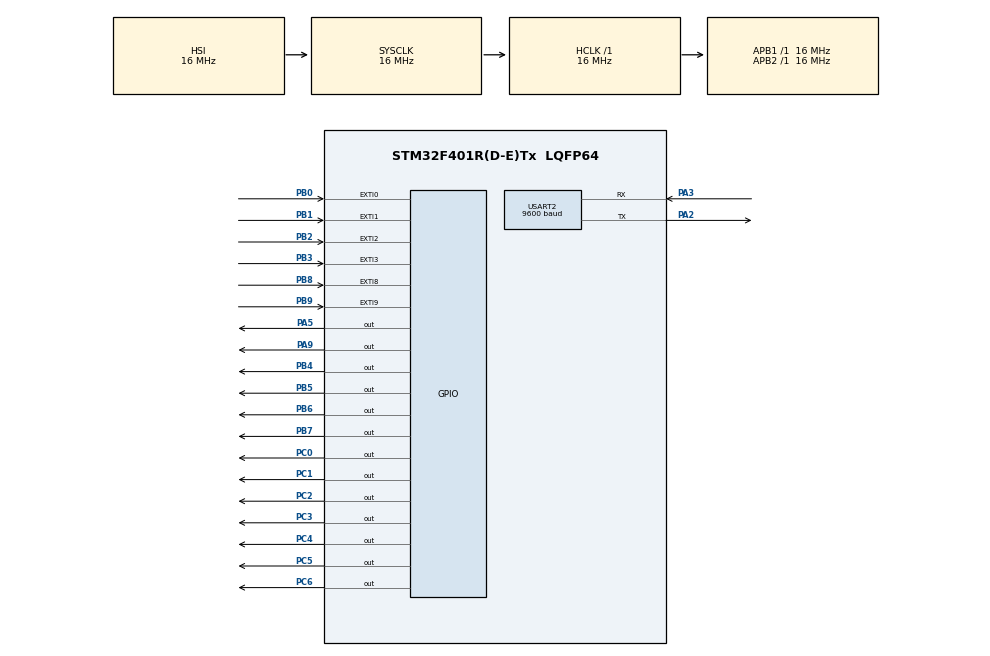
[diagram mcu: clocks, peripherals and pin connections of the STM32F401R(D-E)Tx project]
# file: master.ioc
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Mcu.Family=STM32F4
Mcu.Name=STM32F401R(D-E)Tx
Mcu.Package=LQFP64
NVIC.EXTI0_IRQn=true\:0\:0\:false\:false\:true\:true\:true
NVIC.EXTI1_IRQn=true\:0\:0\:false\:false\:true\:true\:true
NVIC.EXTI2_IRQn=true\:0\:0\:false\:false\:true\:true\:true
NVIC.EXTI3_IRQn=true\:0\:0\:false\:false\:true\:true\:true
NVIC.EXTI9_5_IRQn=true\:0\:0\:false\:false\:true\:true\:true
NVIC.PriorityGroup=NVIC_PRIORITYGROUP_4
NVIC.USART2_IRQn=true\:0\:0\:false\:false\:true\:true\:true
PA2.Mode=Asynchronous
PA2.Signal=USART2_TX
PA3.Mode=Asynchronous
PA3.Signal=USART2_RX
PA5.Signal=GPIO_Output
PA9.Signal=GPIO_Output
PB0.Signal=GPXTI0
PB1.Signal=GPXTI1
PB2.Signal=GPXTI2
PB3.Signal=GPXTI3
PB4.Signal=GPIO_Output
PB5.Signal=GPIO_Output
PB6.Signal=GPIO_Output
PB7.Signal=GPIO_Output
PB8.Signal=GPXTI8
PB9.Signal=GPXTI9
PC0.Signal=GPIO_Output
PC1.Signal=GPIO_Output
PC2.Signal=GPIO_Output
PC3.Signal=GPIO_Output
PC4.Signal=GPIO_Output
PC5.Signal=GPIO_Output
PC6.Signal=GPIO_Output
ProjectManager.HeapSize=0x200
ProjectManager.StackSize=0x400
ProjectManager.TargetToolchain=MDK-ARM V5.32
RCC.AHBFreq_Value=16000000
RCC.APB1Freq_Value=16000000
RCC.APB2Freq_Value=16000000
RCC.CortexFreq_Value=16000000
RCC.HSE_VALUE=25000000
RCC.HSI_VALUE=16000000
RCC.LSE_VALUE=32768
RCC.SYSCLKFreq_VALUE=16000000
RCC.VCOOutputFreq_Value=192000000
USART2.BaudRate=9600
USART2.VirtualMode=VM_ASYNC
board=custom

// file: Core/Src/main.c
/* USER CODE BEGIN Header */
/**
  ******************************************************************************
  * @file           : main.c
  * @brief          : Main program body
  ******************************************************************************
  * @attention
  *
  * <h2><center>&copy; Copyright (c) 2022 STMicroelectronics.
  * All rights reserved.</center></h2>
  *
  * This software component is licensed by ST under BSD 3-Clause license,
  * the "License"; You may not use this file except in compliance with the
  * License. You may obtain a copy of the License at:
  *                        opensource.org/licenses/BSD-3-Clause
  *
  ******************************************************************************
  */
/* USER CODE END Header */
#include "main.h"

/* USER CODE BEGIN PD */
#define mask(x) (1U << x)
#define no_select 10
/* USER CODE END PD */

UART_HandleTypeDef huart2;

/* USER CODE BEGIN PV */
// read buffer for uart
volatile char readBuffer[3];
//write buffer for uart
uint8_t writeBuffer[3];
// switch state
int switch_select_1 = 0 ;
int switch_select_2 = 0 ;
// synchronization bytes
uint8_t synchronizer[3] = {0xFC, 0xFC, 0xFC} ;
// currently selected device
unsigned volatile int selected_device = no_select ;
// seven segment map
unsigned int segment_map[11] = {0x3F, 0x06,0x5B,0x4F,0x66,0x6D,0x7D,0x07,0x7F,0x6F,0x54}; //catod based seven segment decoder mapping
/* USER CODE END PV */

void SystemClock_Config(void);
static void MX_GPIO_Init(void);
static void MX_USART2_UART_Init(void);
/* USER CODE BEGIN PFP */
void write_string(char* str);
void read_bytes(void);
void handle_key_pressed(void);
void write_seven_segment(int device_select); // write to seven segment
void write_bytes(); // write bytes on uart
void make_frames(int read_write, uint8_t data); // create data frames to be sent
/* USER CODE END PFP */

/* USER CODE BEGIN 0 */
void make_frames(int read_write , uint8_t data){
	writeBuffer[0] = selected_device ;
	writeBuffer[1] = read_write ? 0x80 : 0x0;  //for read msb is 1
	writeBuffer[2] = data ;
}

void write_string(char* str){
	HAL_GPIO_WritePin(GPIOA,GPIO_PIN_9,GPIO_PIN_SET);
	while(*str){
		HAL_UART_Transmit(&huart2,(uint8_t*)str,1,HAL_MAX_DELAY);
		str++ ;
	}
}
// write synchronization and buffer bytes
void write_bytes(){
	HAL_GPIO_WritePin(GPIOA,GPIO_PIN_9,GPIO_PIN_SET);
	HAL_UART_Transmit(&huart2,synchronizer,3,HAL_MAX_DELAY);
	HAL_UART_Transmit(&huart2,writeBuffer,3,HAL_MAX_DELAY);
}
// start reading until synch bytes arrive then read 3 bytes of data
void read_bytes(){
	uint8_t synch[1] = {0};
	int sync_count = 3 ;
	HAL_GPIO_WritePin(GPIOA,GPIO_PIN_9,GPIO_PIN_RESET);
	HAL_UART_Receive(&huart2,(uint8_t*)synch,1,HAL_MAX_DELAY);
	while(sync_count>0){
		if(synch[0]==synchronizer[0]){
			sync_count--;
		}
		if(sync_count == 0 ){
			break ;
		}
		HAL_UART_Receive(&huart2,(uint8_t*)synch,1,HAL_MAX_DELAY);
	}
	HAL_UART_Receive(&huart2,(uint8_t*)readBuffer,3,HAL_MAX_DELAY);
}

// write device to seven segment
void write_seven_segment(int device_select){
	for(int i = 0 ; i < 7 ; i++){
		HAL_GPIO_WritePin(GPIOC,mask(i),GPIO_PIN_SET & 0x1 & (segment_map[device_select] >> i));
	}
}

// display value on led
void display_led(uint8_t value){
	for(int i = 0 ; i < 4 ; i++){
		HAL_GPIO_WritePin(GPIOB,mask((i+4)),GPIO_PIN_SET & 0x1 & ( value >> i));
	}
}

// read value from led
uint8_t get_led_value(){
	uint8_t value = 0 ;
	for(int i = 0 ; i < 4 ; i++){
		value |= HAL_GPIO_ReadPin(GPIOB,mask((i+4))) << i ;
	}
	return value;
}

// call back function for key press
void HAL_GPIO_EXTI_Callback(uint16_t GPIO_PIN){
	//return ;
	switch(GPIO_PIN){
		case GPIO_PIN_0 :
			HAL_GPIO_TogglePin(GPIOB,mask(4));
			make_frames(0,get_led_value());
			write_bytes();
			break;
		case GPIO_PIN_1 :
			HAL_GPIO_TogglePin(GPIOB,mask(5));
			make_frames(0,get_led_value());
			write_bytes();
			break;
		case GPIO_PIN_2 :
			HAL_GPIO_TogglePin(GPIOB,mask(6));
			make_frames(0,get_led_value());
			write_bytes();
			break;
		case GPIO_PIN_3 :
			HAL_GPIO_TogglePin(GPIOB,mask(7));
			make_frames(0,get_led_value());
			write_bytes();
			break;
		case GPIO_PIN_8 :
			if (switch_select_2)
					return ;
			if(switch_select_1!=1){
				selected_device = 1 ;
				switch_select_1 = 1 ;
				make_frames(1,get_led_value());
				write_bytes();
				read_bytes();
				display_led(readBuffer[2]);
			}
			else{
				switch_select_1 = 0 ;
				make_frames(0,0xFF);
				write_bytes();
				selected_device = no_select ;
			}
			break ;
		case GPIO_PIN_9 :
			if (switch_select_1)
					return ;
			if(switch_select_2!=1){
				selected_device = 2 ;
				switch_select_2 = 1 ;
				make_frames(1,get_led_value());
				write_bytes();
				read_bytes();
				display_led(readBuffer[2]);
			}
			else{
				switch_select_2 = 0 ;
				selected_device = no_select ;
			}
			break ;
	}
}

/* USER CODE END 0 */

int main(void)
{

  /* MCU Configuration--------------------------------------------------------*/

  /* Reset of all peripherals, Initializes the Flash interface and the Systick. */
  HAL_Init();

  /* Configure the system clock */
  SystemClock_Config();

  /* Initialize all configured peripherals */
  MX_GPIO_Init();
  MX_USART2_UART_Init();
  /* Infinite loop */
  while (1)
  {
		write_seven_segment(selected_device);
  }
}

void SystemClock_Config(void)
{
  RCC_OscInitTypeDef RCC_OscInitStruct = {0};
  RCC_ClkInitTypeDef RCC_ClkInitStruct = {0};

  /** Configure the main internal regulator output voltage
  */
  __HAL_RCC_PWR_CLK_ENABLE();
  __HAL_PWR_VOLTAGESCALING_CONFIG(PWR_REGULATOR_VOLTAGE_SCALE2);
  /** Initializes the RCC Oscillators according to the specified parameters
  * in the RCC_OscInitTypeDef structure.
  */
  RCC_OscInitStruct.OscillatorType = RCC_OSCILLATORTYPE_HSI;
  RCC_OscInitStruct.HSIState = RCC_HSI_ON;
  RCC_OscInitStruct.HSICalibrationValue = RCC_HSICALIBRATION_DEFAULT;
  RCC_OscInitStruct.PLL.PLLState = RCC_PLL_NONE;
  if (HAL_RCC_OscConfig(&RCC_OscInitStruct) != HAL_OK)
  {
    Error_Handler();
  }
  /** Initializes the CPU, AHB and APB buses clocks
  */
  RCC_ClkInitStruct.ClockType = RCC_CLOCKTYPE_HCLK|RCC_CLOCKTYPE_SYSCLK
                              |RCC_CLOCKTYPE_PCLK1|RCC_CLOCKTYPE_PCLK2;
  RCC_ClkInitStruct.SYSCLKSource = RCC_SYSCLKSOURCE_HSI;
  RCC_ClkInitStruct.AHBCLKDivider = RCC_SYSCLK_DIV1;
  RCC_ClkInitStruct.APB1CLKDivider = RCC_HCLK_DIV1;
  RCC_ClkInitStruct.APB2CLKDivider = RCC_HCLK_DIV1;

  if (HAL_RCC_ClockConfig(&RCC_ClkInitStruct, FLASH_LATENCY_0) != HAL_OK)
  {
    Error_Handler();
  }
}

static void MX_USART2_UART_Init(void)
{

  huart2.Instance = USART2;
  huart2.Init.BaudRate = 9600;
  huart2.Init.WordLength = UART_WORDLENGTH_8B;
  huart2.Init.StopBits = UART_STOPBITS_1;
  huart2.Init.Parity = UART_PARITY_NONE;
  huart2.Init.Mode = UART_MODE_TX_RX;
  huart2.Init.HwFlowCtl = UART_HWCONTROL_NONE;
  huart2.Init.OverSampling = UART_OVERSAMPLING_16;
  if (HAL_UART_Init(&huart2) != HAL_OK)
  {
    Error_Handler();
  }

}

static void MX_GPIO_Init(void)
{
  GPIO_InitTypeDef GPIO_InitStruct = {0};

  /* GPIO Ports Clock Enable */
  __HAL_RCC_GPIOC_CLK_ENABLE();
  __HAL_RCC_GPIOA_CLK_ENABLE();
  __HAL_RCC_GPIOB_CLK_ENABLE();

  /*Configure GPIO pin Output Level */
  HAL_GPIO_WritePin(GPIOC, GPIO_PIN_0|GPIO_PIN_1|GPIO_PIN_2|GPIO_PIN_3
                          |GPIO_PIN_4|GPIO_PIN_5|GPIO_PIN_6, GPIO_PIN_RESET);

  /*Configure GPIO pin Output Level */
  HAL_GPIO_WritePin(GPIOA, GPIO_PIN_5|GPIO_PIN_9, GPIO_PIN_RESET);

  /*Configure GPIO pin Output Level */
  HAL_GPIO_WritePin(GPIOB, GPIO_PIN_4|GPIO_PIN_5|GPIO_PIN_6|GPIO_PIN_7, GPIO_PIN_RESET);

  /*Configure GPIO pins : PC0 PC1 PC2 PC3
                           PC4 PC5 PC6 */
  GPIO_InitStruct.Pin = GPIO_PIN_0|GPIO_PIN_1|GPIO_PIN_2|GPIO_PIN_3
                          |GPIO_PIN_4|GPIO_PIN_5|GPIO_PIN_6;
  GPIO_InitStruct.Mode = GPIO_MODE_OUTPUT_PP;
  GPIO_InitStruct.Pull = GPIO_NOPULL;
  GPIO_InitStruct.Speed = GPIO_SPEED_FREQ_LOW;
  HAL_GPIO_Init(GPIOC, &GPIO_InitStruct);

  /*Configure GPIO pins : PA5 PA9 */
  GPIO_InitStruct.Pin = GPIO_PIN_5|GPIO_PIN_9;
  GPIO_InitStruct.Mode = GPIO_MODE_OUTPUT_PP;
  GPIO_InitStruct.Pull = GPIO_NOPULL;
  GPIO_InitStruct.Speed = GPIO_SPEED_FREQ_LOW;
  HAL_GPIO_Init(GPIOA, &GPIO_InitStruct);

  /*Configure GPIO pins : PB0 PB1 PB2 PB3
                           PB8 PB9 */
  GPIO_InitStruct.Pin = GPIO_PIN_0|GPIO_PIN_1|GPIO_PIN_2|GPIO_PIN_3
                          |GPIO_PIN_8|GPIO_PIN_9;
  GPIO_InitStruct.Mode = GPIO_MODE_IT_RISING;
  GPIO_InitStruct.Pull = GPIO_PULLDOWN;
  HAL_GPIO_Init(GPIOB, &GPIO_InitStruct);

  /*Configure GPIO pins : PB4 PB5 PB6 PB7 */
  GPIO_InitStruct.Pin = GPIO_PIN_4|GPIO_PIN_5|GPIO_PIN_6|GPIO_PIN_7;
  GPIO_InitStruct.Mode = GPIO_MODE_OUTPUT_PP;
  GPIO_InitStruct.Pull = GPIO_NOPULL;
  GPIO_InitStruct.Speed = GPIO_SPEED_FREQ_LOW;
  HAL_GPIO_Init(GPIOB, &GPIO_InitStruct);

  /* EXTI interrupt init*/
  HAL_NVIC_SetPriority(EXTI0_IRQn, 0, 0);
  HAL_NVIC_EnableIRQ(EXTI0_IRQn);

  HAL_NVIC_SetPriority(EXTI1_IRQn, 0, 0);
  HAL_NVIC_EnableIRQ(EXTI1_IRQn);

  HAL_NVIC_SetPriority(EXTI2_IRQn, 0, 0);
  HAL_NVIC_EnableIRQ(EXTI2_IRQn);

  HAL_NVIC_SetPriority(EXTI3_IRQn, 0, 0);
  HAL_NVIC_EnableIRQ(EXTI3_IRQn);

  HAL_NVIC_SetPriority(EXTI9_5_IRQn, 0, 0);
  HAL_NVIC_EnableIRQ(EXTI9_5_IRQn);

}

void Error_Handler(void)
{
  __disable_irq();
  while (1)
  {
  }
}

/************************ (C) COPYRIGHT STMicroelectronics *****END OF FILE****/
